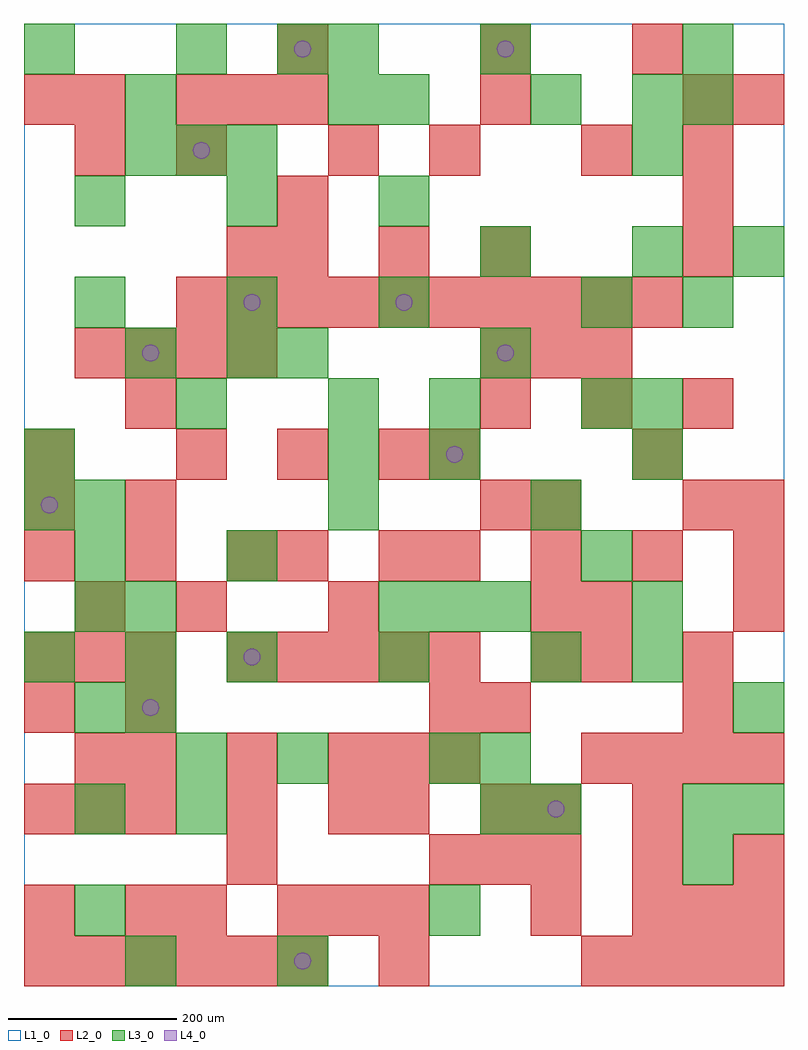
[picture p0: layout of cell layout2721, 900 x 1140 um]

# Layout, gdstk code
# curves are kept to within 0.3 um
import gdstk
lib = gdstk.Library(unit=1e-6, precision=1e-09)
def R(c, l, rs):  # rectangles x0, y0, x1, y1
    for r in rs: c.add(gdstk.rectangle(r[:2], r[2:], *l))
def A(c, l, x, y, w, h, nx, ny, dx, dy):  # array of equal rectangles
    R(c, l, [(x+i*dx, y+j*dy, x+i*dx+w, y+j*dy+h) for i in range(nx) for j in range(ny)])
def P(c, l, *ps):  # polygons
    for p in ps: c.add(gdstk.Polygon(p, *l))
L1_0 = (1, 0)
L2_0 = (2, 0)
L3_0 = (3, 0)
L4_0 = (4, 0)

layout2721 = lib.new_cell('layout2721')
R(layout2721, L1_0, [(0,0,900,1140)])
A(layout2721, L2_0, 0, 0, 60, 60, 6, 1, 60, 0)
A(layout2721, L2_0, 660, 0, 60, 60, 4, 2, 60, 240)
A(layout2721, L2_0, 0, 60, 60, 60, 1, 3, 0, 240)
A(layout2721, L2_0, 120, 60, 60, 60, 1, 3, 0, 240)
A(layout2721, L2_0, 300, 60, 60, 60, 3, 1, 60, 0)
A(layout2721, L2_0, 720, 60, 60, 60, 3, 1, 60, 0)
A(layout2721, L2_0, 480, 120, 60, 60, 3, 1, 60, 0)
A(layout2721, L2_0, 0, 180, 60, 60, 3, 2, 60, 180)
A(layout2721, L2_0, 120, 240, 60, 60, 3, 1, 120, 0)
A(layout2721, L2_0, 240, 360, 60, 60, 5, 1, 60, 0)
A(layout2721, L2_0, 0, 480, 60, 60, 3, 1, 120, 0)
A(layout2721, L2_0, 480, 480, 60, 60, 4, 1, 120, 0)
A(layout2721, L2_0, 180, 600, 60, 60, 3, 1, 120, 0)
A(layout2721, L2_0, 540, 660, 60, 60, 3, 1, 120, 0)
A(layout2721, L2_0, 60, 720, 60, 60, 4, 1, 60, 0)
A(layout2721, L2_0, 540, 720, 60, 60, 3, 1, 60, 0)
A(layout2721, L2_0, 180, 780, 60, 60, 10, 1, 60, 0)
A(layout2721, L2_0, 300, 840, 60, 60, 3, 1, 120, 0)
A(layout2721, L2_0, 780, 840, 60, 60, 1, 4, 0, 60)
A(layout2721, L2_0, 180, 1020, 60, 60, 3, 1, 60, 0)
R(layout2721, L2_0, [(420,0,480,60), (180,60,240,120), (600,60,660,120), (240,120,300,180), (720,120,780,180), (840,120,900,180), (240,180,300,240), (360,180,420,240), (420,180,480,240), (540,180,600,240), (600,180,660,240), (720,180,780,240), (60,240,120,300), (420,240,480,300), (480,240,540,300), (480,300,540,360), (540,300,600,360), (780,300,840,360), (600,360,660,420), (660,360,720,420), (780,360,840,420), (60,420,120,480), (180,420,240,480), (360,420,420,480), (600,420,660,480), (660,420,720,480), (840,420,900,480), (300,480,360,540), (420,480,480,540), (540,540,600,600), (600,540,660,600), (780,540,840,600), (840,540,900,600), (0,600,60,660), (480,600,540,660), (720,600,780,660), (120,660,180,720), (240,840,300,900), (300,900,360,960), (60,960,120,1020), (180,960,240,1020), (360,960,420,1020), (480,960,540,1020), (660,960,720,1020), (0,1020,60,1080), (60,1020,120,1080), (540,1020,600,1080), (840,1020,900,1080), (300,1080,360,1140), (540,1080,600,1140), (720,1080,780,1140)])
A(layout2721, L3_0, 60, 60, 60, 60, 1, 4, 0, 120)
A(layout2721, L3_0, 600, 180, 60, 60, 1, 3, 0, 180)
A(layout2721, L3_0, 180, 240, 60, 60, 1, 3, 0, 420)
A(layout2721, L3_0, 0, 360, 60, 60, 3, 1, 120, 0)
A(layout2721, L3_0, 120, 420, 60, 60, 1, 3, 0, 300)
A(layout2721, L3_0, 420, 420, 60, 60, 3, 1, 60, 0)
A(layout2721, L3_0, 360, 540, 60, 60, 1, 3, 0, 60)
A(layout2721, L3_0, 60, 780, 60, 60, 3, 2, 180, 120)
A(layout2721, L3_0, 120, 960, 60, 60, 3, 1, 60, 0)
R(layout2721, L3_0, [(120,0,180,60), (300,0,360,60), (480,60,540,120), (780,120,840,180), (180,180,240,240), (540,180,600,240), (780,180,840,240), (840,180,900,240), (300,240,360,300), (480,240,540,300), (540,240,600,300), (120,300,180,360), (840,300,900,360), (420,360,480,420), (720,360,780,420), (720,420,780,480), (60,480,120,540), (240,480,300,540), (660,480,720,540), (0,540,60,600), (60,540,120,600), (0,600,60,660), (480,600,540,660), (720,600,780,660), (480,660,540,720), (660,660,720,720), (720,660,780,720), (240,720,300,780), (300,720,360,780), (540,720,600,780), (660,780,720,840), (780,780,840,840), (540,840,600,900), (720,840,780,900), (840,840,900,900), (720,960,780,1020), (360,1020,420,1080), (420,1020,480,1080), (600,1020,660,1080), (720,1020,780,1080), (780,1020,840,1080), (0,1080,60,1140), (300,1080,360,1140), (360,1080,420,1140), (540,1080,600,1140), (780,1080,840,1140)])
P(layout2721, L4_0, [(40,570),(39.239,573.827),(37.071,577.071),(33.827,579.239),(30,580),(26.173,579.239),(22.929,577.071),(20.761,573.827),(20,570),(20.761,566.173),(22.929,562.929),(26.173,560.761),(30,560),(33.827,560.761),(37.071,562.929),(39.239,566.173)],
  [(160,330),(159.239,333.827),(157.071,337.071),(153.827,339.239),(150,340),(146.173,339.239),(142.929,337.071),(140.761,333.827),(140,330),(140.761,326.173),(142.929,322.929),(146.173,320.761),(150,320),(153.827,320.761),(157.071,322.929),(159.239,326.173)],
  [(160,750),(159.239,753.827),(157.071,757.071),(153.827,759.239),(150,760),(146.173,759.239),(142.929,757.071),(140.761,753.827),(140,750),(140.761,746.173),(142.929,742.929),(146.173,740.761),(150,740),(153.827,740.761),(157.071,742.929),(159.239,746.173)],
  [(220,990),(219.239,993.827),(217.071,997.071),(213.827,999.239),(210,1000),(206.173,999.239),(202.929,997.071),(200.761,993.827),(200,990),(200.761,986.173),(202.929,982.929),(206.173,980.761),(210,980),(213.827,980.761),(217.071,982.929),(219.239,986.173)],
  [(280,390),(279.239,393.827),(277.071,397.071),(273.827,399.239),(270,400),(266.173,399.239),(262.929,397.071),(260.761,393.827),(260,390),(260.761,386.173),(262.929,382.929),(266.173,380.761),(270,380),(273.827,380.761),(277.071,382.929),(279.239,386.173)],
  [(280,810),(279.239,813.827),(277.071,817.071),(273.827,819.239),(270,820),(266.173,819.239),(262.929,817.071),(260.761,813.827),(260,810),(260.761,806.173),(262.929,802.929),(266.173,800.761),(270,800),(273.827,800.761),(277.071,802.929),(279.239,806.173)],
  [(340,30),(339.239,33.827),(337.071,37.071),(333.827,39.239),(330,40),(326.173,39.239),(322.929,37.071),(320.761,33.827),(320,30),(320.761,26.173),(322.929,22.929),(326.173,20.761),(330,20),(333.827,20.761),(337.071,22.929),(339.239,26.173)],
  [(340,1110),(339.239,1113.827),(337.071,1117.071),(333.827,1119.239),(330,1120),(326.173,1119.239),(322.929,1117.071),(320.761,1113.827),(320,1110),(320.761,1106.173),(322.929,1102.929),(326.173,1100.761),(330,1100),(333.827,1100.761),(337.071,1102.929),(339.239,1106.173)],
  [(460,810),(459.239,813.827),(457.071,817.071),(453.827,819.239),(450,820),(446.173,819.239),(442.929,817.071),(440.761,813.827),(440,810),(440.761,806.173),(442.929,802.929),(446.173,800.761),(450,800),(453.827,800.761),(457.071,802.929),(459.239,806.173)],
  [(520,630),(519.239,633.827),(517.071,637.071),(513.827,639.239),(510,640),(506.173,639.239),(502.929,637.071),(500.761,633.827),(500,630),(500.761,626.173),(502.929,622.929),(506.173,620.761),(510,620),(513.827,620.761),(517.071,622.929),(519.239,626.173)],
  [(580,750),(579.239,753.827),(577.071,757.071),(573.827,759.239),(570,760),(566.173,759.239),(562.929,757.071),(560.761,753.827),(560,750),(560.761,746.173),(562.929,742.929),(566.173,740.761),(570,740),(573.827,740.761),(577.071,742.929),(579.239,746.173)],
  [(580,1110),(579.239,1113.827),(577.071,1117.071),(573.827,1119.239),(570,1120),(566.173,1119.239),(562.929,1117.071),(560.761,1113.827),(560,1110),(560.761,1106.173),(562.929,1102.929),(566.173,1100.761),(570,1100),(573.827,1100.761),(577.071,1102.929),(579.239,1106.173)],
  [(640,210),(639.239,213.827),(637.071,217.071),(633.827,219.239),(630,220),(626.173,219.239),(622.929,217.071),(620.761,213.827),(620,210),(620.761,206.173),(622.929,202.929),(626.173,200.761),(630,200),(633.827,200.761),(637.071,202.929),(639.239,206.173)])

lib.write_gds('layout2721.gds')
